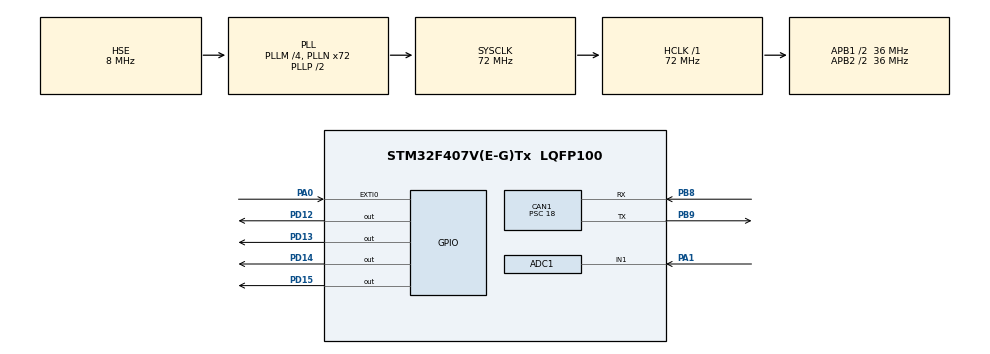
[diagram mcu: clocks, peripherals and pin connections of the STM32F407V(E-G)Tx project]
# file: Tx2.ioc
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ADC1.Channel-0\#ChannelRegularConversion=ADC_CHANNEL_1
ADC1.NbrOfConversionFlag=1
ADC1.Rank-0\#ChannelRegularConversion=1
ADC1.SamplingTime-0\#ChannelRegularConversion=ADC_SAMPLETIME_3CYCLES
ADC1.master=1
CAN1.BS1=CAN_BS1_2TQ
CAN1.CalculateBaudRate=500000
CAN1.CalculateTimeBit=2000
CAN1.CalculateTimeQuantum=500.0
CAN1.Prescaler=18
Mcu.Family=STM32F4
Mcu.Name=STM32F407V(E-G)Tx
Mcu.Package=LQFP100
NVIC.CAN1_RX0_IRQn=true\:0\:0\:false\:false\:true\:true\:true\:true
NVIC.EXTI0_IRQn=true\:0\:0\:false\:false\:true\:true\:true\:true
NVIC.PriorityGroup=NVIC_PRIORITYGROUP_0
PA0-WKUP.Signal=GPXTI0
PA1.Signal=ADCx_IN1
PB8.Mode=CAN_Activate
PB8.Signal=CAN1_RX
PB9.Mode=CAN_Activate
PB9.Signal=CAN1_TX
PD12.Signal=GPIO_Output
PD13.Signal=GPIO_Output
PD14.Signal=GPIO_Output
PD15.Signal=GPIO_Output
PH0-OSC_IN.Mode=HSE-External-Oscillator
PH0-OSC_IN.Signal=RCC_OSC_IN
PH1-OSC_OUT.Mode=HSE-External-Oscillator
PH1-OSC_OUT.Signal=RCC_OSC_OUT
ProjectManager.HeapSize=0x200
ProjectManager.StackSize=0x400
ProjectManager.TargetToolchain=STM32CubeIDE
RCC.48MHZClocksFreq_Value=20571428.57142857
RCC.AHBFreq_Value=72000000
RCC.APB1CLKDivider=RCC_HCLK_DIV2
RCC.APB1Freq_Value=36000000
RCC.APB1TimFreq_Value=72000000
RCC.APB2CLKDivider=RCC_HCLK_DIV2
RCC.APB2Freq_Value=36000000
RCC.APB2TimFreq_Value=72000000
RCC.CortexFreq_Value=72000000
RCC.HCLKFreq_Value=72000000
RCC.HSE_VALUE=8000000
RCC.HSI_VALUE=16000000
RCC.LSE_VALUE=32768
RCC.PLLM=4
RCC.PLLN=72
RCC.PLLQ=7
RCC.PLLSourceVirtual=RCC_PLLSOURCE_HSE
RCC.SYSCLKFreq_VALUE=72000000
RCC.SYSCLKSource=RCC_SYSCLKSOURCE_PLLCLK
RCC.VCOOutputFreq_Value=144000000
SH.ADCx_IN1.0=ADC1_IN1,IN1
board=STM32F407G-DISC1

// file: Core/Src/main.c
/* USER CODE BEGIN Header */
/**
  ******************************************************************************
  * @file           : main.c
  * @brief          : Main program body
  ******************************************************************************
  * @attention
  *
  * Copyright (c) 2023 STMicroelectronics.
  * All rights reserved.
  *
  * This software is licensed under terms that can be found in the LICENSE file
  * in the root directory of this software component.
  * If no LICENSE file comes with this software, it is provided AS-IS.
  *
  ******************************************************************************
  */
/* USER CODE END Header */
#include "main.h"

/* USER CODE BEGIN Includes */
#include <stdio.h>
/* USER CODE END Includes */

ADC_HandleTypeDef hadc1;

CAN_HandleTypeDef hcan1;

void SystemClock_Config(void);
static void MX_GPIO_Init(void);
static void MX_CAN1_Init(void);
static void MX_ADC1_Init(void);

/* USER CODE BEGIN 0 */
int Switch_Flag = 0;
CAN_TxHeaderTypeDef TxHeader;
uint8_t TxData[5];
uint32_t TxMailBox;

int adc_value, temp;
// store the converted voltage value
// from analog value
float voltage;
// temp_str store the integer to string
// temperature convertion
char temp_str[20];

void HAL_GPIO_EXTI_Callback(uint16_t GPIO_Pin){
	Switch_Flag = 1;
	HAL_GPIO_WritePin(GPIOD, GPIO_PIN_14, GPIO_PIN_SET);
//	HAL_Delay(1000);
//	HAL_GPIO_WritePin(GPIOD, GPIO_PIN_14, GPIO_PIN_RESET);
//	Switch_Flag = 0;
}

/* USER CODE END 0 */

int main(void)
{

  /* MCU Configuration--------------------------------------------------------*/

  /* Reset of all peripherals, Initializes the Flash interface and the Systick. */
  HAL_Init();

  /* Configure the system clock */
  SystemClock_Config();

  /* Initialize all configured peripherals */
  MX_GPIO_Init();
  MX_CAN1_Init();
  MX_ADC1_Init();
  /* USER CODE BEGIN 2 */
  HAL_CAN_Start(&hcan1);
  HAL_CAN_ActivateNotification(&hcan1, CAN_IT_RX_FIFO0_MSG_PENDING);
  HAL_Delay(100);
  HAL_Delay(100);

  TxHeader.DLC=3;
  TxHeader.RTR=CAN_RTR_DATA;
  TxHeader.IDE=CAN_ID_STD;
  TxHeader.ExtId=0x0;
  TxHeader.StdId=0x0AA;
  TxHeader.TransmitGlobalTime=DISABLE;
  /* USER CODE END 2 */

  /* Infinite loop */
  /* USER CODE BEGIN WHILE */
  while (1)
  {
	  	  	  if(Switch_Flag == 1){
	  	  		TxData[0] = 'S';	//yellow
	  	  		if (HAL_CAN_AddTxMessage(&hcan1, &TxHeader, TxData, &TxMailBox) != HAL_OK)
	  	  			Error_Handler();
	  	  		HAL_GPIO_WritePin(GPIOD, GPIO_PIN_12, GPIO_PIN_SET);
	  	  		}

	  	  	HAL_ADC_Start(&hadc1);
		   // ADC poll for conversion
		  HAL_ADC_PollForConversion(&hadc1, 100);
		  // get the ADC conversion value
		  adc_value = HAL_ADC_GetValue(&hadc1);
		  // end ADC convertion
		  HAL_ADC_Stop(&hadc1);
		  // convert ADC value into voltage
		  voltage = (adc_value*3.3)/4096;
		  // convert the voltage into temperature
		  temp = voltage*100;
		  //convert the integer value to string,
		  //to display in the LCD
		  sprintf(temp_str,"%d\n", temp);

		  TxData[1] = 'T';	//yellow
		if (HAL_CAN_AddTxMessage(&hcan1, &TxHeader, TxData, &TxMailBox) != HAL_OK)
			Error_Handler();
		HAL_GPIO_WritePin(GPIOD, GPIO_PIN_13, GPIO_PIN_SET);
		}
    /* USER CODE END WHILE */

}

void SystemClock_Config(void)
{
  RCC_OscInitTypeDef RCC_OscInitStruct = {0};
  RCC_ClkInitTypeDef RCC_ClkInitStruct = {0};

  /** Configure the main internal regulator output voltage
  */
  __HAL_RCC_PWR_CLK_ENABLE();
  __HAL_PWR_VOLTAGESCALING_CONFIG(PWR_REGULATOR_VOLTAGE_SCALE1);

  /** Initializes the RCC Oscillators according to the specified parameters
  * in the RCC_OscInitTypeDef structure.
  */
  RCC_OscInitStruct.OscillatorType = RCC_OSCILLATORTYPE_HSE;
  RCC_OscInitStruct.HSEState = RCC_HSE_ON;
  RCC_OscInitStruct.PLL.PLLState = RCC_PLL_ON;
  RCC_OscInitStruct.PLL.PLLSource = RCC_PLLSOURCE_HSE;
  RCC_OscInitStruct.PLL.PLLM = 4;
  RCC_OscInitStruct.PLL.PLLN = 72;
  RCC_OscInitStruct.PLL.PLLP = RCC_PLLP_DIV2;
  RCC_OscInitStruct.PLL.PLLQ = 7;
  if (HAL_RCC_OscConfig(&RCC_OscInitStruct) != HAL_OK)
  {
    Error_Handler();
  }

  /** Initializes the CPU, AHB and APB buses clocks
  */
  RCC_ClkInitStruct.ClockType = RCC_CLOCKTYPE_HCLK|RCC_CLOCKTYPE_SYSCLK
                              |RCC_CLOCKTYPE_PCLK1|RCC_CLOCKTYPE_PCLK2;
  RCC_ClkInitStruct.SYSCLKSource = RCC_SYSCLKSOURCE_PLLCLK;
  RCC_ClkInitStruct.AHBCLKDivider = RCC_SYSCLK_DIV1;
  RCC_ClkInitStruct.APB1CLKDivider = RCC_HCLK_DIV2;
  RCC_ClkInitStruct.APB2CLKDivider = RCC_HCLK_DIV2;

  if (HAL_RCC_ClockConfig(&RCC_ClkInitStruct, FLASH_LATENCY_2) != HAL_OK)
  {
    Error_Handler();
  }
}

static void MX_ADC1_Init(void)
{

  ADC_ChannelConfTypeDef sConfig = {0};

  /** Configure the global features of the ADC (Clock, Resolution, Data Alignment and number of conversion)
  */
  hadc1.Instance = ADC1;
  hadc1.Init.ClockPrescaler = ADC_CLOCK_SYNC_PCLK_DIV2;
  hadc1.Init.Resolution = ADC_RESOLUTION_12B;
  hadc1.Init.ScanConvMode = DISABLE;
  hadc1.Init.ContinuousConvMode = DISABLE;
  hadc1.Init.DiscontinuousConvMode = DISABLE;
  hadc1.Init.ExternalTrigConvEdge = ADC_EXTERNALTRIGCONVEDGE_NONE;
  hadc1.Init.ExternalTrigConv = ADC_SOFTWARE_START;
  hadc1.Init.DataAlign = ADC_DATAALIGN_RIGHT;
  hadc1.Init.NbrOfConversion = 1;
  hadc1.Init.DMAContinuousRequests = DISABLE;
  hadc1.Init.EOCSelection = ADC_EOC_SINGLE_CONV;
  if (HAL_ADC_Init(&hadc1) != HAL_OK)
  {
    Error_Handler();
  }

  /** Configure for the selected ADC regular channel its corresponding rank in the sequencer and its sample time.
  */
  sConfig.Channel = ADC_CHANNEL_1;
  sConfig.Rank = 1;
  sConfig.SamplingTime = ADC_SAMPLETIME_3CYCLES;
  if (HAL_ADC_ConfigChannel(&hadc1, &sConfig) != HAL_OK)
  {
    Error_Handler();
  }

}

static void MX_CAN1_Init(void)
{

  hcan1.Instance = CAN1;
  hcan1.Init.Prescaler = 18;
  hcan1.Init.Mode = CAN_MODE_NORMAL;
  hcan1.Init.SyncJumpWidth = CAN_SJW_1TQ;
  hcan1.Init.TimeSeg1 = CAN_BS1_2TQ;
  hcan1.Init.TimeSeg2 = CAN_BS2_1TQ;
  hcan1.Init.TimeTriggeredMode = DISABLE;
  hcan1.Init.AutoBusOff = DISABLE;
  hcan1.Init.AutoWakeUp = DISABLE;
  hcan1.Init.AutoRetransmission = DISABLE;
  hcan1.Init.ReceiveFifoLocked = DISABLE;
  hcan1.Init.TransmitFifoPriority = DISABLE;
  if (HAL_CAN_Init(&hcan1) != HAL_OK)
  {
    Error_Handler();
  }
  /* USER CODE BEGIN CAN1_Init 2 */
  CAN_FilterTypeDef canFilterConfig;
   canFilterConfig.FilterActivation=CAN_FILTER_ENABLE;
   canFilterConfig.SlaveStartFilterBank=14;
   canFilterConfig.FilterBank=2;
   canFilterConfig.FilterFIFOAssignment=CAN_RX_FIFO0;
   canFilterConfig.FilterScale=CAN_FILTERSCALE_32BIT;
   canFilterConfig.FilterMode=CAN_FILTERMODE_IDMASK;
   canFilterConfig.FilterMaskIdLow=0x0000;
   canFilterConfig.FilterMaskIdHigh=0xFF00;
   canFilterConfig.FilterIdLow=0x0000;
   canFilterConfig.FilterIdHigh=0x1500;
   HAL_CAN_ConfigFilter(&hcan1, &canFilterConfig);
  /* USER CODE END CAN1_Init 2 */

}

static void MX_GPIO_Init(void)
{
  GPIO_InitTypeDef GPIO_InitStruct = {0};

  /* GPIO Ports Clock Enable */
  __HAL_RCC_GPIOH_CLK_ENABLE();
  __HAL_RCC_GPIOA_CLK_ENABLE();
  __HAL_RCC_GPIOD_CLK_ENABLE();
  __HAL_RCC_GPIOB_CLK_ENABLE();

  /*Configure GPIO pin Output Level */
  HAL_GPIO_WritePin(GPIOD, GPIO_PIN_12|GPIO_PIN_13|GPIO_PIN_14|GPIO_PIN_15, GPIO_PIN_RESET);

  /*Configure GPIO pin : PA0 */
  GPIO_InitStruct.Pin = GPIO_PIN_0;
  GPIO_InitStruct.Mode = GPIO_MODE_IT_RISING;
  GPIO_InitStruct.Pull = GPIO_NOPULL;
  HAL_GPIO_Init(GPIOA, &GPIO_InitStruct);

  /*Configure GPIO pins : PD12 PD13 PD14 PD15 */
  GPIO_InitStruct.Pin = GPIO_PIN_12|GPIO_PIN_13|GPIO_PIN_14|GPIO_PIN_15;
  GPIO_InitStruct.Mode = GPIO_MODE_OUTPUT_PP;
  GPIO_InitStruct.Pull = GPIO_NOPULL;
  GPIO_InitStruct.Speed = GPIO_SPEED_FREQ_LOW;
  HAL_GPIO_Init(GPIOD, &GPIO_InitStruct);

  /* EXTI interrupt init*/
  HAL_NVIC_SetPriority(EXTI0_IRQn, 0, 0);
  HAL_NVIC_EnableIRQ(EXTI0_IRQn);

}

/* USER CODE BEGIN 4 */
void HAL_CAN_TxMailbox0CompleteCallback(CAN_HandleTypeDef *hcan)
{
	HAL_GPIO_WritePin(GPIOD, GPIO_PIN_15, GPIO_PIN_SET);
}

/* USER CODE END 4 */

void Error_Handler(void)
{
  __disable_irq();
  while (1)
  {
  }
}
